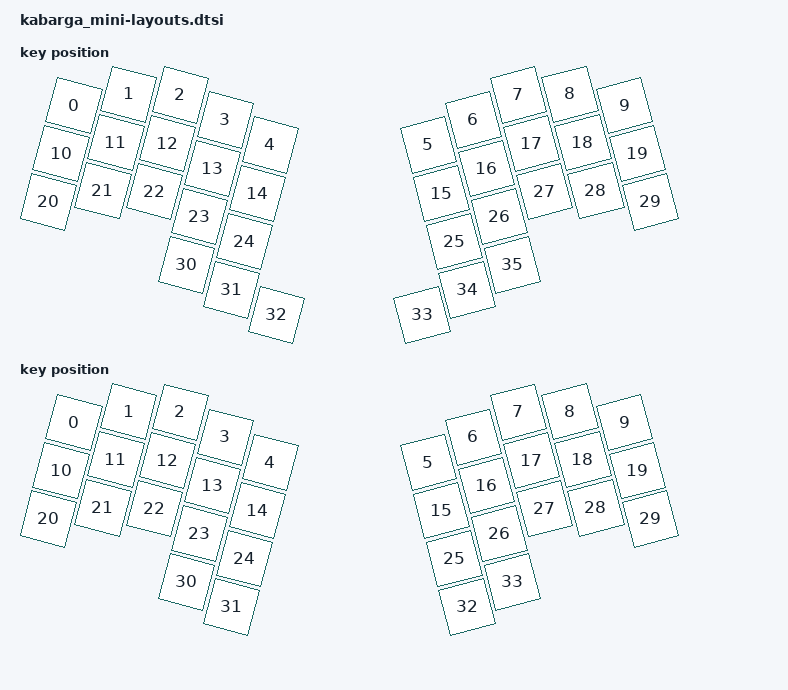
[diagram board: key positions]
#include <physical_layouts.dtsi>

#include "position_map.dtsi"

/ {
       mini36_layout: mini36_layout {
        compatible = "zmk,physical-layout";
        display-name = "36";

        kscan = <&kscan0>;
        transform = <&matrix_transform0>;
        keys  //                     w   h    x    y     rot    rx    ry
            = <&key_physical_attrs 100 100  100   75    1500   700    50>
            , <&key_physical_attrs 100 100  200   25    1500   700    50>
            , <&key_physical_attrs 100 100  300    0    1500   700    50>
            , <&key_physical_attrs 100 100  400   25    1500   700    50>
            , <&key_physical_attrs 100 100  500   50    1500   700    50>
            , <&key_physical_attrs 100 100  800   50 (-1500)   700    50>
            , <&key_physical_attrs 100 100  900   25 (-1500)   700    50>
            , <&key_physical_attrs 100 100 1000    0 (-1500)   700    50>
            , <&key_physical_attrs 100 100 1100   25 (-1500)   700    50>
            , <&key_physical_attrs 100 100 1200   75 (-1500)   700    50>
            , <&key_physical_attrs 100 100  100  175    1500   700    50>
            , <&key_physical_attrs 100 100  200  125    1500   700    50>
            , <&key_physical_attrs 100 100  300  100    1500   700    50>
            , <&key_physical_attrs 100 100  400  125    1500   700    50>
            , <&key_physical_attrs 100 100  500  150    1500   700    50>
            , <&key_physical_attrs 100 100  800  150 (-1500)   700    50>
            , <&key_physical_attrs 100 100  900  125 (-1500)   700    50>
            , <&key_physical_attrs 100 100 1000  100 (-1500)   700    50>
            , <&key_physical_attrs 100 100 1100  125 (-1500)   700    50>
            , <&key_physical_attrs 100 100 1200  175 (-1500)   700    50>
            , <&key_physical_attrs 100 100  100  275    1500   700    50>
            , <&key_physical_attrs 100 100  200  225    1500   700    50>
            , <&key_physical_attrs 100 100  300  200    1500   700    50>
            , <&key_physical_attrs 100 100  400  225    1500   700    50>
            , <&key_physical_attrs 100 100  500  250    1500   700    50>
            , <&key_physical_attrs 100 100  800  250 (-1500)   700    50>
            , <&key_physical_attrs 100 100  900  225 (-1500)   700    50>
            , <&key_physical_attrs 100 100 1000  200 (-1500)   700    50>
            , <&key_physical_attrs 100 100 1100  225 (-1500)   700    50>
            , <&key_physical_attrs 100 100 1200  275 (-1500)   700    50>
            , <&key_physical_attrs 100 100  400  325    1500   700    50>
            , <&key_physical_attrs 100 100  500  350    1500   700    50>
            , <&key_physical_attrs 100 100  600  375    1500   700    50>
            , <&key_physical_attrs 100 100  700  375 (-1500)   700    50>
            , <&key_physical_attrs 100 100  800  350 (-1500)   700    50>
            , <&key_physical_attrs 100 100  900  325 (-1500)   700    50>
            ;
    };
    mini34_layout: mini34_layout {
        compatible = "zmk,physical-layout";
        display-name = "34";

        keys  //                     w   h    x    y     rot    rx    ry
            = <&key_physical_attrs 100 100  100   75    1500   700    50>
            , <&key_physical_attrs 100 100  200   25    1500   700    50>
            , <&key_physical_attrs 100 100  300    0    1500   700    50>
            , <&key_physical_attrs 100 100  400   25    1500   700    50>
            , <&key_physical_attrs 100 100  500   50    1500   700    50>
            , <&key_physical_attrs 100 100  800   50 (-1500)   700    50>
            , <&key_physical_attrs 100 100  900   25 (-1500)   700    50>
            , <&key_physical_attrs 100 100 1000    0 (-1500)   700    50>
            , <&key_physical_attrs 100 100 1100   25 (-1500)   700    50>
            , <&key_physical_attrs 100 100 1200   75 (-1500)   700    50>
            , <&key_physical_attrs 100 100  100  175    1500   700    50>
            , <&key_physical_attrs 100 100  200  125    1500   700    50>
            , <&key_physical_attrs 100 100  300  100    1500   700    50>
            , <&key_physical_attrs 100 100  400  125    1500   700    50>
            , <&key_physical_attrs 100 100  500  150    1500   700    50>
            , <&key_physical_attrs 100 100  800  150 (-1500)   700    50>
            , <&key_physical_attrs 100 100  900  125 (-1500)   700    50>
            , <&key_physical_attrs 100 100 1000  100 (-1500)   700    50>
            , <&key_physical_attrs 100 100 1100  125 (-1500)   700    50>
            , <&key_physical_attrs 100 100 1200  175 (-1500)   700    50>
            , <&key_physical_attrs 100 100  100  275    1500   700    50>
            , <&key_physical_attrs 100 100  200  225    1500   700    50>
            , <&key_physical_attrs 100 100  300  200    1500   700    50>
            , <&key_physical_attrs 100 100  400  225    1500   700    50>
            , <&key_physical_attrs 100 100  500  250    1500   700    50>
            , <&key_physical_attrs 100 100  800  250 (-1500)   700    50>
            , <&key_physical_attrs 100 100  900  225 (-1500)   700    50>
            , <&key_physical_attrs 100 100 1000  200 (-1500)   700    50>
            , <&key_physical_attrs 100 100 1100  225 (-1500)   700    50>
            , <&key_physical_attrs 100 100 1200  275 (-1500)   700    50>
            , <&key_physical_attrs 100 100  400  325    1500   700    50>
            , <&key_physical_attrs 100 100  500  350    1500   700    50>
            , <&key_physical_attrs 100 100  800  350 (-1500)   700    50>
            , <&key_physical_attrs 100 100  900  325 (-1500)   700    50>
            ;
    };
};

&layouts_kabarga_mini_position_map{
        mini36_layout {
                physical-layout = <&mini36_layout>;
                positions
                = < 0  1  2  3  4    5  6  7  8  9>
                , <10 11 12 13 14   15 16 17 18 19>
                , <20 21 22 23 24   25 26 27 28 29>
                ,       <30 31 32   33 34 35>;
        };
        mini34_layout {
                physical-layout = <&mini34_layout>;
                positions
                = < 0  1  2  3  4    5  6  7  8  9>
                , <10 11 12 13 14   15 16 17 18 19>
                , <20 21 22 23 24   25 26 27 28 29>
                ,       <30 31 32   33 34 35>;
        };
};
